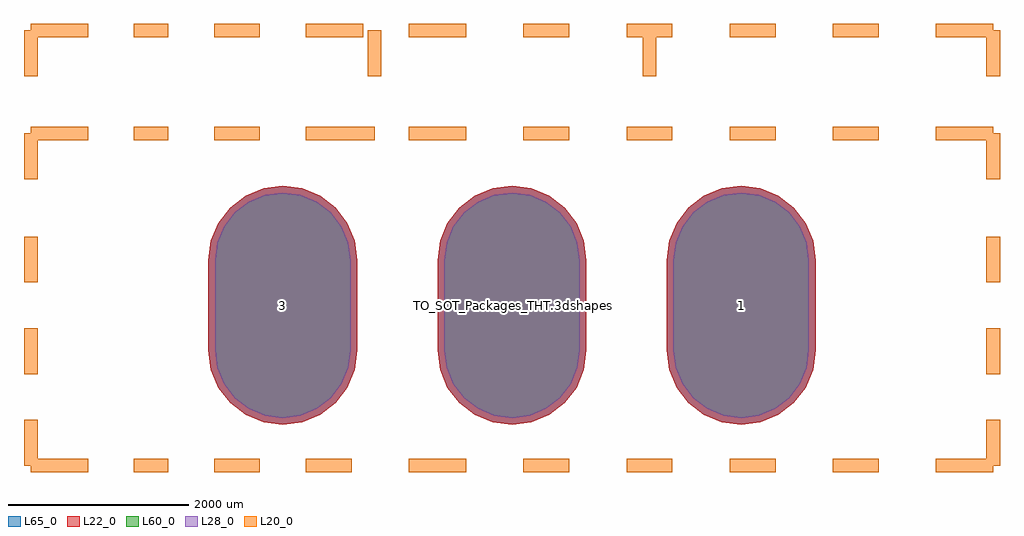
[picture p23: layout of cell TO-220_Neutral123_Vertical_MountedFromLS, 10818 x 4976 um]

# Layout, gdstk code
import gdstk
lib = gdstk.Library(unit=1e-6, precision=1e-09)
def P(c, l, *ps):  # polygons
    for p in ps: c.add(gdstk.Polygon(p, *l))
L20_0 = (20, 0)
L22_0 = (22, 0)
L28_0 = (28, 0)
L60_0 = (60, 0)
L65_0 = (65, 0)

to_220_neutral123_vertic = lib.new_cell('TO-220_Neutral123_Vertical_MountedFromLS')
P(to_220_neutral123_vertic, L22_0, [(2540,-1324.68),(2753.673,-1296.549),(2952.785,-1214.075),(3123.766,-1082.876),(3254.965,-911.895),(3337.439,-712.783),(3365.57,-499.11),(3365.57,499.11),(3337.439,712.783),(3254.965,911.895),(3123.766,1082.876),(2952.785,1214.075),(2753.673,1296.549),(2540,1324.68),(2326.327,1296.549),(2127.215,1214.075),(1956.234,1082.876),(1825.035,911.895),(1742.561,712.783),(1714.43,499.11),(1714.43,-499.11),(1742.561,-712.783),(1825.035,-911.895),(1956.234,-1082.876),(2127.215,-1214.075),(2326.327,-1296.549)],
  [(-2540,-1324.68),(-2326.327,-1296.549),(-2127.215,-1214.075),(-1956.234,-1082.876),(-1825.035,-911.895),(-1742.561,-712.783),(-1714.43,-499.11),(-1714.43,499.11),(-1742.561,712.783),(-1825.035,911.895),(-1956.234,1082.876),(-2127.215,1214.075),(-2326.327,1296.549),(-2540,1324.68),(-2753.673,1296.549),(-2952.785,1214.075),(-3123.766,1082.876),(-3254.965,911.895),(-3337.439,712.783),(-3365.57,499.11),(-3365.57,-499.11),(-3337.439,-712.783),(-3254.965,-911.895),(-3123.766,-1082.876),(-2952.785,-1214.075),(-2753.673,-1296.549)],
  [(0,-1324.68),(213.673,-1296.549),(412.785,-1214.075),(583.766,-1082.876),(714.965,-911.895),(797.439,-712.783),(825.57,-499.11),(825.57,499.11),(797.439,712.783),(714.965,911.895),(583.766,1082.876),(412.785,1214.075),(213.673,1296.549),(0,1324.68),(-213.673,1296.549),(-412.785,1214.075),(-583.766,1082.876),(-714.965,911.895),(-797.439,712.783),(-825.57,499.11),(-825.57,-499.11),(-797.439,-712.783),(-714.965,-911.895),(-583.766,-1082.876),(-412.785,-1214.075),(-213.673,-1296.549)])
P(to_220_neutral123_vertic, L28_0, [(2540,-1249.68),(2734.262,-1224.105),(2915.285,-1149.123),(3070.733,-1029.843),(3190.013,-874.395),(3264.995,-693.372),(3290.57,-499.11),(3290.57,499.11),(3264.995,693.372),(3190.013,874.395),(3070.733,1029.843),(2915.285,1149.123),(2734.262,1224.105),(2540,1249.68),(2345.738,1224.105),(2164.715,1149.123),(2009.267,1029.843),(1889.987,874.395),(1815.005,693.372),(1789.43,499.11),(1789.43,-499.11),(1815.005,-693.372),(1889.987,-874.395),(2009.267,-1029.843),(2164.715,-1149.123),(2345.738,-1224.105)],
  [(-2540,-1249.68),(-2345.738,-1224.105),(-2164.715,-1149.123),(-2009.267,-1029.843),(-1889.987,-874.395),(-1815.005,-693.372),(-1789.43,-499.11),(-1789.43,499.11),(-1815.005,693.372),(-1889.987,874.395),(-2009.267,1029.843),(-2164.715,1149.123),(-2345.738,1224.105),(-2540,1249.68),(-2734.262,1224.105),(-2915.285,1149.123),(-3070.733,1029.843),(-3190.013,874.395),(-3264.995,693.372),(-3290.57,499.11),(-3290.57,-499.11),(-3264.995,-693.372),(-3190.013,-874.395),(-3070.733,-1029.843),(-2915.285,-1149.123),(-2734.262,-1224.105)],
  [(0,-1249.68),(194.262,-1224.105),(375.285,-1149.123),(530.733,-1029.843),(650.013,-874.395),(724.995,-693.372),(750.57,-499.11),(750.57,499.11),(724.995,693.372),(650.013,874.395),(530.733,1029.843),(375.285,1149.123),(194.262,1224.105),(0,1249.68),(-194.262,1224.105),(-375.285,1149.123),(-530.733,1029.843),(-650.013,874.395),(-724.995,693.372),(-750.57,499.11),(-750.57,-499.11),(-724.995,-693.372),(-650.013,-874.395),(-530.733,-1029.843),(-375.285,-1149.123),(-194.262,-1224.105)])
P(to_220_neutral123_vertic, L60_0, [(2540,-1249.68),(2734.262,-1224.105),(2915.285,-1149.123),(3070.733,-1029.843),(3190.013,-874.395),(3264.995,-693.372),(3290.57,-499.11),(3290.57,499.11),(3264.995,693.372),(3190.013,874.395),(3070.733,1029.843),(2915.285,1149.123),(2734.262,1224.105),(2540,1249.68),(2345.738,1224.105),(2164.715,1149.123),(2009.267,1029.843),(1889.987,874.395),(1815.005,693.372),(1789.43,499.11),(1789.43,-499.11),(1815.005,-693.372),(1889.987,-874.395),(2009.267,-1029.843),(2164.715,-1149.123),(2345.738,-1224.105)],
  [(-2540,-1249.68),(-2345.738,-1224.105),(-2164.715,-1149.123),(-2009.267,-1029.843),(-1889.987,-874.395),(-1815.005,-693.372),(-1789.43,-499.11),(-1789.43,499.11),(-1815.005,693.372),(-1889.987,874.395),(-2009.267,1029.843),(-2164.715,1149.123),(-2345.738,1224.105),(-2540,1249.68),(-2734.262,1224.105),(-2915.285,1149.123),(-3070.733,1029.843),(-3190.013,874.395),(-3264.995,693.372),(-3290.57,499.11),(-3290.57,-499.11),(-3264.995,-693.372),(-3190.013,-874.395),(-3070.733,-1029.843),(-2915.285,-1149.123),(-2734.262,-1224.105)],
  [(0,-1249.68),(194.262,-1224.105),(375.285,-1149.123),(530.733,-1029.843),(650.013,-874.395),(724.995,-693.372),(750.57,-499.11),(750.57,499.11),(724.995,693.372),(650.013,874.395),(530.733,1029.843),(375.285,1149.123),(194.262,1224.105),(0,1249.68),(-194.262,1224.105),(-375.285,1149.123),(-530.733,1029.843),(-650.013,874.395),(-724.995,693.372),(-750.57,499.11),(-750.57,-499.11),(-724.995,-693.372),(-650.013,-874.395),(-530.733,-1029.843),(-375.285,-1149.123),(-194.262,-1224.105)])
P(to_220_neutral123_vertic, L65_0, [(2540,-1324.68),(2753.673,-1296.549),(2952.785,-1214.075),(3123.766,-1082.876),(3254.965,-911.895),(3337.439,-712.783),(3365.57,-499.11),(3365.57,499.11),(3337.439,712.783),(3254.965,911.895),(3123.766,1082.876),(2952.785,1214.075),(2753.673,1296.549),(2540,1324.68),(2326.327,1296.549),(2127.215,1214.075),(1956.234,1082.876),(1825.035,911.895),(1742.561,712.783),(1714.43,499.11),(1714.43,-499.11),(1742.561,-712.783),(1825.035,-911.895),(1956.234,-1082.876),(2127.215,-1214.075),(2326.327,-1296.549)],
  [(-2540,-1324.68),(-2326.327,-1296.549),(-2127.215,-1214.075),(-1956.234,-1082.876),(-1825.035,-911.895),(-1742.561,-712.783),(-1714.43,-499.11),(-1714.43,499.11),(-1742.561,712.783),(-1825.035,911.895),(-1956.234,1082.876),(-2127.215,1214.075),(-2326.327,1296.549),(-2540,1324.68),(-2753.673,1296.549),(-2952.785,1214.075),(-3123.766,1082.876),(-3254.965,911.895),(-3337.439,712.783),(-3365.57,499.11),(-3365.57,-499.11),(-3337.439,-712.783),(-3254.965,-911.895),(-3123.766,-1082.876),(-2952.785,-1214.075),(-2753.673,-1296.549)],
  [(0,-1324.68),(213.673,-1296.549),(412.785,-1214.075),(583.766,-1082.876),(714.965,-911.895),(797.439,-712.783),(825.57,-499.11),(825.57,499.11),(797.439,712.783),(714.965,911.895),(583.766,1082.876),(412.785,1214.075),(213.673,1296.549),(0,1324.68),(-213.673,1296.549),(-412.785,1214.075),(-583.766,1082.876),(-714.965,911.895),(-797.439,712.783),(-825.57,499.11),(-825.57,-499.11),(-797.439,-712.783),(-714.965,-911.895),(-583.766,-1082.876),(-412.785,-1214.075),(-213.673,-1296.549)])
to_220_neutral123_vertic.add(gdstk.FlexPath([(-4953,-1778),(-4699,-1778)], 149.998, ends="flush", simple_path=True, layer=20, datatype=0))  # L20_0
to_220_neutral123_vertic.add(gdstk.FlexPath([(-5334,-1778),(-4953,-1778)], 149.998, ends="flush", simple_path=True, layer=20, datatype=0))  # L20_0
to_220_neutral123_vertic.add(gdstk.FlexPath([(-4191,-1778),(-3810,-1778)], 149.998, ends="flush", simple_path=True, layer=20, datatype=0))  # L20_0
to_220_neutral123_vertic.add(gdstk.FlexPath([(-3302,-1778),(-2794,-1778)], 149.998, ends="flush", simple_path=True, layer=20, datatype=0))  # L20_0
to_220_neutral123_vertic.add(gdstk.FlexPath([(-2286,-1778),(-1778,-1778)], 149.998, ends="flush", simple_path=True, layer=20, datatype=0))  # L20_0
to_220_neutral123_vertic.add(gdstk.FlexPath([(-1143,-1778),(-508,-1778)], 149.998, ends="flush", simple_path=True, layer=20, datatype=0))  # L20_0
to_220_neutral123_vertic.add(gdstk.FlexPath([(127,-1778),(635,-1778)], 149.998, ends="flush", simple_path=True, layer=20, datatype=0))  # L20_0
to_220_neutral123_vertic.add(gdstk.FlexPath([(1270,-1778),(1778,-1778)], 149.998, ends="flush", simple_path=True, layer=20, datatype=0))  # L20_0
to_220_neutral123_vertic.add(gdstk.FlexPath([(2413,-1778),(2921,-1778)], 149.998, ends="flush", simple_path=True, layer=20, datatype=0))  # L20_0
to_220_neutral123_vertic.add(gdstk.FlexPath([(3556,-1778),(4064,-1778)], 149.998, ends="flush", simple_path=True, layer=20, datatype=0))  # L20_0
to_220_neutral123_vertic.add(gdstk.FlexPath([(4699,-1778),(5334,-1778)], 149.998, ends="flush", simple_path=True, layer=20, datatype=0))  # L20_0
to_220_neutral123_vertic.add(gdstk.FlexPath([(-5334,-1778),(-5334,-1270)], 149.998, ends="flush", simple_path=True, layer=20, datatype=0))  # L20_0
to_220_neutral123_vertic.add(gdstk.FlexPath([(-5334,-762),(-5334,-254)], 149.998, ends="flush", simple_path=True, layer=20, datatype=0))  # L20_0
to_220_neutral123_vertic.add(gdstk.FlexPath([(-5334,254),(-5334,762)], 149.998, ends="flush", simple_path=True, layer=20, datatype=0))  # L20_0
to_220_neutral123_vertic.add(gdstk.FlexPath([(-5334,1397),(-5334,1905)], 149.998, ends="flush", simple_path=True, layer=20, datatype=0))  # L20_0
to_220_neutral123_vertic.add(gdstk.FlexPath([(-5334,2540),(-5334,3048)], 149.998, ends="flush", simple_path=True, layer=20, datatype=0))  # L20_0
to_220_neutral123_vertic.add(gdstk.FlexPath([(5334,3048),(5334,2540)], 149.998, ends="flush", simple_path=True, layer=20, datatype=0))  # L20_0
to_220_neutral123_vertic.add(gdstk.FlexPath([(5334,1905),(5334,1397)], 149.998, ends="flush", simple_path=True, layer=20, datatype=0))  # L20_0
to_220_neutral123_vertic.add(gdstk.FlexPath([(5334,762),(5334,254)], 149.998, ends="flush", simple_path=True, layer=20, datatype=0))  # L20_0
to_220_neutral123_vertic.add(gdstk.FlexPath([(5334,-254),(5334,-762)], 149.998, ends="flush", simple_path=True, layer=20, datatype=0))  # L20_0
to_220_neutral123_vertic.add(gdstk.FlexPath([(5334,-1270),(5334,-1778)], 149.998, ends="flush", simple_path=True, layer=20, datatype=0))  # L20_0
to_220_neutral123_vertic.add(gdstk.FlexPath([(-5334,3048),(-4699,3048)], 149.998, ends="flush", simple_path=True, layer=20, datatype=0))  # L20_0
to_220_neutral123_vertic.add(gdstk.FlexPath([(-4191,3048),(-3810,3048)], 149.998, ends="flush", simple_path=True, layer=20, datatype=0))  # L20_0
to_220_neutral123_vertic.add(gdstk.FlexPath([(-3302,3048),(-2794,3048)], 149.998, ends="flush", simple_path=True, layer=20, datatype=0))  # L20_0
to_220_neutral123_vertic.add(gdstk.FlexPath([(-2286,3048),(-1651,3048)], 149.998, ends="flush", simple_path=True, layer=20, datatype=0))  # L20_0
to_220_neutral123_vertic.add(gdstk.FlexPath([(-1143,3048),(-508,3048)], 149.998, ends="flush", simple_path=True, layer=20, datatype=0))  # L20_0
to_220_neutral123_vertic.add(gdstk.FlexPath([(127,3048),(635,3048)], 149.998, ends="flush", simple_path=True, layer=20, datatype=0))  # L20_0
to_220_neutral123_vertic.add(gdstk.FlexPath([(1270,3048),(1778,3048)], 149.998, ends="flush", simple_path=True, layer=20, datatype=0))  # L20_0
to_220_neutral123_vertic.add(gdstk.FlexPath([(2413,3048),(2921,3048)], 149.998, ends="flush", simple_path=True, layer=20, datatype=0))  # L20_0
to_220_neutral123_vertic.add(gdstk.FlexPath([(3556,3048),(4064,3048)], 149.998, ends="flush", simple_path=True, layer=20, datatype=0))  # L20_0
to_220_neutral123_vertic.add(gdstk.FlexPath([(4699,3048),(5334,3048)], 149.998, ends="flush", simple_path=True, layer=20, datatype=0))  # L20_0
to_220_neutral123_vertic.add(gdstk.FlexPath([(-1524,1905),(-2286,1905)], 149.998, ends="flush", simple_path=True, layer=20, datatype=0))  # L20_0
to_220_neutral123_vertic.add(gdstk.FlexPath([(-2794,1905),(-3302,1905)], 149.998, ends="flush", simple_path=True, layer=20, datatype=0))  # L20_0
to_220_neutral123_vertic.add(gdstk.FlexPath([(-3810,1905),(-4191,1905)], 149.998, ends="flush", simple_path=True, layer=20, datatype=0))  # L20_0
to_220_neutral123_vertic.add(gdstk.FlexPath([(-4699,1905),(-5334,1905)], 149.998, ends="flush", simple_path=True, layer=20, datatype=0))  # L20_0
to_220_neutral123_vertic.add(gdstk.FlexPath([(-1143,1905),(-508,1905)], 149.998, ends="flush", simple_path=True, layer=20, datatype=0))  # L20_0
to_220_neutral123_vertic.add(gdstk.FlexPath([(127,1905),(635,1905)], 149.998, ends="flush", simple_path=True, layer=20, datatype=0))  # L20_0
to_220_neutral123_vertic.add(gdstk.FlexPath([(1270,1905),(1778,1905)], 149.998, ends="flush", simple_path=True, layer=20, datatype=0))  # L20_0
to_220_neutral123_vertic.add(gdstk.FlexPath([(2413,1905),(2921,1905)], 149.998, ends="flush", simple_path=True, layer=20, datatype=0))  # L20_0
to_220_neutral123_vertic.add(gdstk.FlexPath([(3556,1905),(4064,1905)], 149.998, ends="flush", simple_path=True, layer=20, datatype=0))  # L20_0
to_220_neutral123_vertic.add(gdstk.FlexPath([(4699,1905),(5334,1905)], 149.998, ends="flush", simple_path=True, layer=20, datatype=0))  # L20_0
to_220_neutral123_vertic.add(gdstk.FlexPath([(1524,3048),(1524,2540)], 149.998, ends="flush", simple_path=True, layer=20, datatype=0))  # L20_0
to_220_neutral123_vertic.add(gdstk.FlexPath([(-1524,3048),(-1524,2540)], 149.998, ends="flush", simple_path=True, layer=20, datatype=0))  # L20_0
to_220_neutral123_vertic.add(gdstk.Label('TO_SOT_Packages_THT.3dshapes/TO-220_Neutral123_Vertical_MountedFromLS.wrl', (0,0), layer=12, texttype=0))
to_220_neutral123_vertic.add(gdstk.Label('1', (2540,0), layer=28, texttype=0))
to_220_neutral123_vertic.add(gdstk.Label('3', (-2540,0), layer=28, texttype=0))
to_220_neutral123_vertic.add(gdstk.Label('2', (0,0), layer=28, texttype=0))
to_220_neutral123_vertic.add(gdstk.Label('type', (0,-3810), layer=9, texttype=0))
to_220_neutral123_vertic.add(gdstk.Label('devicename', (0,5080), layer=9, texttype=0))

lib.write_gds('TO-220_Neutral123_Vertical_MountedFromLS.gds')
